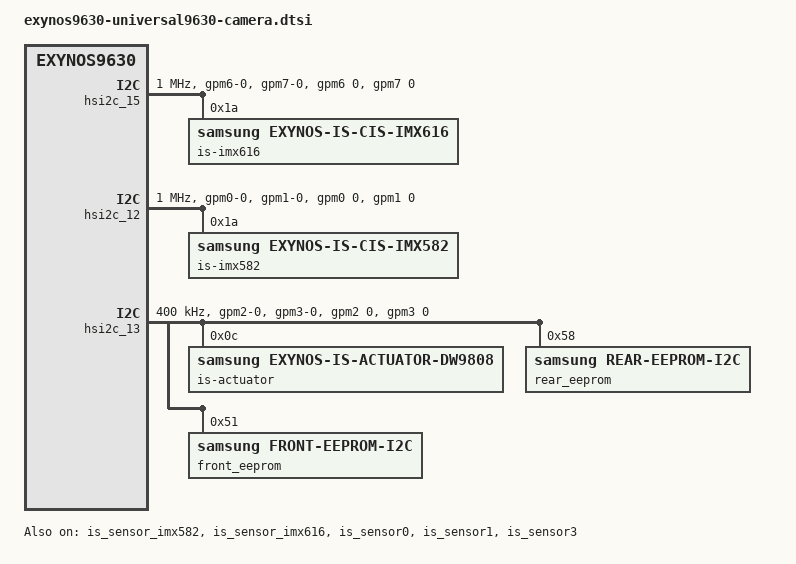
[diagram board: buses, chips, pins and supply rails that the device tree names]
/*
 * Samsung Exynos SoC series Pablo driver
 *
 * Copyright (c) 2019 Samsung Electronics Co., Ltd
 *
 * This program is free software; you can redistribute it and/or modify
 * it under the terms of the GNU General Public License version 2 as
 * published by the Free Software Foundation.
 */

#include <dt-bindings/camera/exynos_is_dt.h>
#include <dt-bindings/interrupt-controller/exynos9630.h>
#include <dt-bindings/clock/exynos9630.h>

#include "camera/module_imx582.dtsi"
#include "camera/module_imx616.dtsi"

/* REAR CAMERA */
&is_sensor_imx582 {
	pinctrl-names = "pin0", "pin1", "pin2", "release";
	pinctrl-0 = <&sensor_mclk1_out>;
	pinctrl-1 = <&sensor_mclk1_fn>;
	pinctrl-2 = <>;
	pinctrl-3 = <>;

	position = <0>; /* Rear:0. Front:1 */
	id = <0>; /* is_sensor id */
	mclk_ch = <1>;

	status = "okay";

	af {
		product_name = <24>; /* ACTUATOR_NAME_DW9808 */
	};

	power_seq {
		use = <1>;
		gpio_mclk = <&gpg0 4 0x1>;

		scenario_normal_on {
			sensor_scenario = <SENSOR_SCENARIO_NORMAL>;
			gpio_scenario = <GPIO_SCENARIO_ON>;

			/* A start node number should be over the 10 for reserved number 0~9. */
			/* pname = "name"; pin = <act value dealy voltage>; gpio = <gpx# # 0x1>; */
			10 { pname = "sen_rst low"; pin = <PIN_OUTPUT 0 500>; gpio = <&gpm13 0 0x1>; };
			20 { pname = "CAM_VLDO5"; pin = <PIN_REGULATOR 1 0>; }; /* IMX582_AVDD1 2.9V */
			30 { pname = "CAM_VLDO2"; pin = <PIN_REGULATOR 1 0>; }; /* IMX582_AVDD2 1.8V */ /* FIXME */
			40 { pname = "CAM_VLDO3"; pin = <PIN_REGULATOR 1 0>; }; /* IMX582_IOVDD 1.8V */
			50 { pname = "CAM_VLDO2"; pin = <PIN_REGULATOR 1 0>; }; /* IMX582_DVDD 1.1V */
			60 { pname = "CAM_VLDO7"; pin = <PIN_REGULATOR 1 500>; }; /* RCAM_AF_VDD 2.8V */
			70 { pname = "on_i2c"; pin = <PIN_I2C 1 10>; };
			80 { pname = "pin"; pin = <PIN_FUNCTION 1 1000>; share; };
			90 { pname = "MCLK"; pin = <PIN_MCLK 1 1500>; };
			100 { pname = "sen_rst high"; pin = <PIN_OUTPUT 1 0>; gpio = <&gpm13 0 0x1>; };
			110 { pname = "delay"; pin = <PIN_NONE 0 10000>; };
		};

		scenario_normal_off {
			sensor_scenario = <SENSOR_SCENARIO_NORMAL>;
			gpio_scenario = <GPIO_SCENARIO_OFF>;

			/* A start node number should be over the 10 for reserved number 0~9. */
			/* pname = "name"; pin = <act value dealy voltage>; gpio = <gpx# # 0x1>; */
			10 { pname = "delay"; pin = <PIN_NONE 0 5000>; };
			20 { pname = "sen_rst low"; pin = <PIN_OUTPUT 0 0>; gpio = <&gpm13 0 0x1>; };
			30 { pname = "MCLK"; pin = <PIN_MCLK 0 0>; };
			40 { pname = "pin"; pin = <PIN_FUNCTION 0 0>; share; };
			50 { pname = "pin"; pin = <PIN_FUNCTION 2 1000>; };
			60 { pname = "off_i2c"; pin = <PIN_I2C 0 0>; };
			70 { pname = "CAM_VLDO7"; pin = <PIN_REGULATOR 0 500>; }; /* RCAM_AF_VDD 2.8V */
			80 { pname = "CAM_VLDO5"; pin = <PIN_REGULATOR 0 0>; }; /* IMX582_AVDD1 2.9V */
			90 { pname = "CAM_VLDO2"; pin = <PIN_REGULATOR 0 0>; }; /* IMX582_AVDD2 1.8V */
			100 { pname = "CAM_VLDO3"; pin = <PIN_REGULATOR 0 0>; }; /* IMX582_IOVDD 1.8V */
			110 { pname = "CAM_VLDO2"; pin = <PIN_REGULATOR 0 0>; }; /* IMX582_DVDD 1.1V */
		};

		scenario_read_rom_on {
			sensor_scenario = <SENSOR_SCENARIO_READ_ROM>;
			gpio_scenario = <GPIO_SCENARIO_ON>;

			/* A start node number should be over the 10 for reserved number 0~9. */
			/* pname = "name"; pin = <act value dealy voltage>; gpio = <gpx# # 0x1>; */
			10 { pname = "CAM_VLDO7"; pin = <PIN_REGULATOR 1 0>; }; /* RCAM_AF_VDD 2.8V */
			20 { pname = "CAM_VLDO3"; pin = <PIN_REGULATOR 1 0>; }; /* IMX582_IOVDD 1.8V */
			30 { pname = "delay"; pin = <PIN_NONE 0 3000>; };
		};

		scenario_read_rom_off {
			sensor_scenario = <SENSOR_SCENARIO_READ_ROM>;
			gpio_scenario = <GPIO_SCENARIO_OFF>;

			/* A start node number should be over the 10 for reserved number 0~9. */
			/* pname = "name"; pin = <act value dealy voltage>; gpio = <gpx# # 0x1>; */
			10 { pname = "CAM_VLDO7"; pin = <PIN_REGULATOR 0 0>; }; /* RCAM_AF_VDD 2.8V */
			20 { pname = "CAM_VLDO3"; pin = <PIN_REGULATOR 0 0>; }; /* IMX582_IOVDD 1.8V */
		};

		scenario_vision_on {
			sensor_scenario = <SENSOR_SCENARIO_VISION>;
			gpio_scenario = <GPIO_SCENARIO_ON>;

			/* A start node number should be over the 10 for reserved number 0~9. */
			/* pname = "name"; pin = <act value dealy voltage>; gpio = <gpx# # 0x1>; */
			10 { pname = "sen_rst low"; pin = <PIN_OUTPUT 0 500>; gpio = <&gpm13 0 0x1>; };
			20 { pname = "CAM_VLDO5"; pin = <PIN_REGULATOR 1 0>; }; /* IMX582_AVDD1 2.9V */
			30 { pname = "CAM_VLDO2"; pin = <PIN_REGULATOR 1 0>; }; /* IMX582_AVDD2 1.8V */
			40 { pname = "CAM_VLDO3"; pin = <PIN_REGULATOR 1 0>; }; /* IMX582_IOVDD 1.8V */
			50 { pname = "CAM_VLDO2"; pin = <PIN_REGULATOR 1 0>; }; /* IMX582_DVDD 1.1V */
			60 { pname = "CAM_VLDO7"; pin = <PIN_REGULATOR 1 500>; }; /* RCAM_AF_VDD 2.8V */
			70 { pname = "on_i2c"; pin = <PIN_I2C 1 10>; };
			80 { pname = "pin"; pin = <PIN_FUNCTION 1 1000>; share; };
			90 { pname = "MCLK"; pin = <PIN_MCLK 1 1500>; };
			100 { pname = "sen_rst high"; pin = <PIN_OUTPUT 1 0>; gpio = <&gpm13 0 0x1>; };
			110 { pname = "delay"; pin = <PIN_NONE 0 10000>; };
		};

		scenario_vision_off {
			sensor_scenario = <SENSOR_SCENARIO_VISION>;
			gpio_scenario = <GPIO_SCENARIO_OFF>;

			/* A start node number should be over the 10 for reserved number 0~9. */
			/* pname = "name"; pin = <act value dealy voltage>; gpio = <gpx# # 0x1>; */
			10 { pname = "delay"; pin = <PIN_NONE 0 5000>; };
			20 { pname = "sen_rst low"; pin = <PIN_OUTPUT 0 0>; gpio = <&gpm13 0 0x1>; };
			30 { pname = "MCLK"; pin = <PIN_MCLK 0 0>; };
			40 { pname = "pin"; pin = <PIN_FUNCTION 0 0>; share; };
			50 { pname = "pin"; pin = <PIN_FUNCTION 2 1000>; };
			60 { pname = "off_i2c"; pin = <PIN_I2C 0 0>; };
			70 { pname = "CAM_VLDO7"; pin = <PIN_REGULATOR 0 500>; }; /* RCAM_AF_VDD 2.8V */
			80 { pname = "CAM_VLDO5"; pin = <PIN_REGULATOR 0 0>; }; /* IMX582_AVDD1 2.9V */
			90 { pname = "CAM_VLDO2"; pin = <PIN_REGULATOR 0 0>; }; /* IMX582_AVDD2 1.8V */
			100 { pname = "CAM_VLDO3"; pin = <PIN_REGULATOR 0 0>; }; /* IMX582_IOVDD 1.8V */
			110 { pname = "CAM_VLDO2"; pin = <PIN_REGULATOR 0 0>; }; /* IMX582_DVDD 1.1V */
		};
	};
};

/* FRONT CAMERA */
&is_sensor_imx616 {
	pinctrl-names = "pin0", "pin1", "pin2", "release";
	pinctrl-0 = <>;
	pinctrl-1 = <&sensor_mclk0_out>;
	pinctrl-2 = <&sensor_mclk0_fn>;
	pinctrl-3 = <>;

	position = <1>; /* Rear:0, Front:1, Rear_sub(Rear2):2, Rear_UW(Rear3): 4 */
	id = <1>; /* is_sensor id */
	mclk_ch = <0>;

	status = "okay";

	power_seq {
		use = <1>;
		gpio_mclk = <&gpg0 3 0x1>;

		scenario_normal_on {
			sensor_scenario = <SENSOR_SCENARIO_NORMAL>;
			gpio_scenario = <GPIO_SCENARIO_ON>;

			/* A start node number should be over the 10 for reserved number 0~9. */
			/* pname = "name"; pin = <act value dealy voltage>; gpio = <gpx# # 0x1>; */
			10 { pname = "sen_rst low"; pin = <PIN_OUTPUT 0 500>; gpio = <&gpm12 0 0x1>; };
			20 { pname = "CAM_VLDO6"; pin = <PIN_REGULATOR 1 0>; }; /* IMX616_AVDD 2.8V */
			30 { pname = "CAM_VLDO3"; pin = <PIN_REGULATOR 1 0>; }; /* IMX616_IOVDD 1.8V */
			40 { pname = "CAM_VLDO1"; pin = <PIN_REGULATOR 1 500>; }; /* IMX616_DVDD 1.05V */
			50 { pname = "on_i2c"; pin = <PIN_I2C 1 10>; };
			60 { pname = "pin"; pin = <PIN_FUNCTION 2 1000>; };
			70 { pname = "MCLK"; pin = <PIN_MCLK 1 1500>; };
			80 { pname = "sen_rst high"; pin = <PIN_OUTPUT 1 0>; gpio = <&gpm12 0 0x1>; };
			90 { pname = "delay"; pin = <PIN_NONE 0 15000>; };
		};

		scenario_normal_off {
			sensor_scenario = <SENSOR_SCENARIO_NORMAL>;
			gpio_scenario = <GPIO_SCENARIO_OFF>;

			/* A start node number should be over the 10 for reserved number 0~9. */
			/* pname = "name"; pin = <act value dealy voltage>; gpio = <gpx# # 0x1>; */
			10 { pname = "delay"; pin = <PIN_NONE 0 5000>; };
			20 { pname = "sen_rst low"; pin = <PIN_OUTPUT 0 0>; gpio = <&gpm12 0 0x1>; };
			30 { pname = "MCLK"; pin = <PIN_MCLK 0 0>; };
			40 { pname = "pin"; pin = <PIN_FUNCTION 0 0>; };
			50 { pname = "pin"; pin = <PIN_FUNCTION 1 500>; };
			60 { pname = "pin"; pin = <PIN_FUNCTION 0 0>; };
			70 { pname = "off_i2c"; pin = <PIN_I2C 0 0>; };
			80 { pname = "CAM_VLDO6"; pin = <PIN_REGULATOR 0 0>; }; /* IMX616_AVDD 2.8V */
			90 { pname = "CAM_VLDO3"; pin = <PIN_REGULATOR 0 0>; }; /* IMX616_IOVDD 1.8V */
			100 { pname = "CAM_VLDO1"; pin = <PIN_REGULATOR 0 0>; }; /* IMX616_DVDD 1.05V */
		};

		scenario_read_rom_on {
			sensor_scenario = <SENSOR_SCENARIO_READ_ROM>;
			gpio_scenario = <GPIO_SCENARIO_ON>;

			/* A start node number should be over the 10 for reserved number 0~9. */
			/* pname = "name"; pin = <act value dealy voltage>; gpio = <gpx# # 0x1>; */
			10 { pname = "CAM_VLDO3"; pin = <PIN_REGULATOR 1 0>; }; /* IMX616_IOVDD 1.8V */
			20 { pname = "SENSOR_SET_DELAY"; pin = <PIN_NONE 0 3000>; };
		};

		scenario_read_rom_off {
			sensor_scenario = <SENSOR_SCENARIO_READ_ROM>;
			gpio_scenario = <GPIO_SCENARIO_OFF>;

			/* A start node number should be over the 10 for reserved number 0~9. */
			/* pname = "name"; pin = <act value dealy voltage>; gpio = <gpx# # 0x1>; */
			10 { pname = "CAM_VLDO3"; pin = <PIN_REGULATOR 0 0>; }; /* IMX616_IOVDD 1.8V */
		};

		scenario_vision_on {
			sensor_scenario = <SENSOR_SCENARIO_VISION>;
			gpio_scenario = <GPIO_SCENARIO_ON>;

			/* A start node number should be over the 10 for reserved number 0~9. */
			/* pname = "name"; pin = <act value dealy voltage>; gpio = <gpx# # 0x1>; */
			10 { pname = "sen_rst low"; pin = <PIN_OUTPUT 0 500>; gpio = <&gpm12 0 0x1>; };
			20 { pname = "CAM_VLDO6"; pin = <PIN_REGULATOR 1 0>; }; /* IMX616_AVDD 2.8V */
			30 { pname = "CAM_VLDO3"; pin = <PIN_REGULATOR 1 0>; }; /* IMX616_IOVDD 1.8V */
			40 { pname = "CAM_VLDO2"; pin = <PIN_REGULATOR 1 500>; }; /* IMX616_DVDD 1.05V */
			50 { pname = "on_i2c"; pin = <PIN_I2C 1 10>; };
			60 { pname = "pin"; pin = <PIN_FUNCTION 2 1000>; };
			70 { pname = "MCLK"; pin = <PIN_MCLK 1 1500>; };
			80 { pname = "sen_rst high"; pin = <PIN_OUTPUT 1 0>; gpio = <&gpm12 0 0x1>; };
			90 { pname = "delay"; pin = <PIN_NONE 0 15000>; };
		};

		scenario_vision_off {
			sensor_scenario = <SENSOR_SCENARIO_VISION>;
			gpio_scenario = <GPIO_SCENARIO_OFF>;

			/* A start node number should be over the 10 for reserved number 0~9. */
			/* pname = "name"; pin = <act value dealy voltage>; gpio = <gpx# # 0x1>; */
			10 { pname = "delay"; pin = <PIN_NONE 0 5000>; };
			20 { pname = "sen_rst low"; pin = <PIN_OUTPUT 0 0>; gpio = <&gpm12 0 0x1>; };
			30 { pname = "MCLK"; pin = <PIN_MCLK 0 0>; };
			40 { pname = "pin"; pin = <PIN_FUNCTION 0 0>; };
			50 { pname = "pin"; pin = <PIN_FUNCTION 1 500>; };
			60 { pname = "pin"; pin = <PIN_FUNCTION 0 0>; };
			70 { pname = "off_i2c"; pin = <PIN_I2C 0 0>; };
			80 { pname = "CAM_VLDO6"; pin = <PIN_REGULATOR 0 0>; }; /* IMX616_AVDD 2.8V */
			90 { pname = "CAM_VLDO3"; pin = <PIN_REGULATOR 0 0>; }; /* IMX616_IOVDD 1.8V */
			100 { pname = "CAM_VLDO2"; pin = <PIN_REGULATOR 0 0>; }; /* IMX616_DVDD 1.05V */
		};
	};
};

/***** reference symbol node *****/

&exynos_is {
	vender {
		rear_sensor_id = <120>; /* IMX582 */
		front_sensor_id = <121>; /* IMX616 */
	};

	lic_offsets {
		/* 3AA = <setA lic offset0, setA lic offset1, set A trigger context */
		/*		setB lic offset0, setB lic offset1, set B trigger context> */
		/* 4672: 4640x4352 */
		/* 5824: 5804x4352 */
		3AA = <6848 13696 1 6848 13696 2>;
	};

	is_dvfs {
		#define DVFS_INT_CAM_L0 533000
		#define DVFS_INT_CAM_L1 532000
		#define DVFS_INT_CAM_L2 444000
		#define DVFS_INT_CAM_L3 400000
		#define DVFS_INT_CAM_L4 333000
		#define DVFS_INT_CAM_L5 222000
		#define DVFS_INT_CAM_L6 167000
		#define DVFS_INT_CAM_L7 107000

		#define DVFS_TNR_L0 533000
		#define DVFS_TNR_L1 444000
		#define DVFS_TNR_L2 400000
		#define DVFS_TNR_L3 333000
		#define DVFS_TNR_L4 222000
		#define DVFS_TNR_L5 167000
		#define DVFS_TNR_L6 107000

		#define DVFS_INT_L0 666000
		#define DVFS_INT_L1 533000
		#define DVFS_INT_L2 400000
		#define DVFS_INT_L3 266000
		#define DVFS_INT_L4 200000
		#define DVFS_INT_L5 133000

		#define DVFS_CAM_L0 533000
		#define DVFS_CAM_L1 444000
		#define DVFS_CAM_L2 400000
		#define DVFS_CAM_L3 333000
		#define DVFS_CAM_L4 267000
		#define DVFS_CAM_L5 222000
		#define DVFS_CAM_L6 100000

		#define DVFS_MIF_L0 2093000
		#define DVFS_MIF_L1 1794000
		#define DVFS_MIF_L2 1539000
		#define DVFS_MIF_L3 1352000
		#define DVFS_MIF_L4 1014000
		#define DVFS_MIF_L5 845000
		#define DVFS_MIF_L6 676000
		#define DVFS_MIF_L7 546000
		#define DVFS_MIF_L8 421000

		table0 {
			desc = "dvfs table v0.0 for 12M/8M/5M";

			default_int_cam = <DVFS_INT_CAM_L2>;
			default_tnr = <DVFS_TNR_L1>;
			default_cam = <DVFS_CAM_L0>;
			default_mif = <DVFS_MIF_L2>;
			default_int = <DVFS_INT_L4>;
			default_hpg = <0>;

			front2_preview_int_cam = <DVFS_INT_CAM_L2>;
			front2_preview_tnr = <DVFS_TNR_L1>;
			front2_preview_cam = <DVFS_CAM_L0>;
			front2_preview_mif = <DVFS_MIF_L2>;
			front2_preview_int = <DVFS_INT_L4>;
			front2_preview_hpg = <0>;

			front2_capture_int_cam = <DVFS_INT_CAM_L2>;
			front2_capture_tnr = <DVFS_TNR_L1>;
			front2_capture_cam = <DVFS_CAM_L0>;
			front2_capture_mif = <DVFS_MIF_L2>;
			front2_capture_int = <DVFS_INT_L4>;
			front2_capture_hpg = <0>;

			front2_video_int_cam = <DVFS_INT_CAM_L2>;
			front2_video_tnr = <DVFS_TNR_L1>;
			front2_video_cam = <DVFS_CAM_L0>;
			front2_video_mif = <DVFS_MIF_L2>;
			front2_video_int = <DVFS_INT_L4>;
			front2_video_hpg = <0>;

			front2_video_capture_int_cam = <DVFS_INT_CAM_L2>;
			front2_video_capture_tnr = <DVFS_TNR_L1>;
			front2_video_capture_cam = <DVFS_CAM_L0>;
			front2_video_capture_mif = <DVFS_MIF_L2>;
			front2_video_capture_int = <DVFS_INT_L4>;
			front2_video_capture_hpg = <0>;

			front_preview_int_cam = <DVFS_INT_CAM_L5>;
			front_preview_tnr = <DVFS_TNR_L4>;
			front_preview_cam = <DVFS_CAM_L4>;
			front_preview_mif = <DVFS_MIF_L4>;
			front_preview_int = <DVFS_INT_L4>;
			front_preview_hpg = <0>;

			front_preview_full_int_cam = <DVFS_INT_CAM_L5>;
			front_preview_full_tnr = <DVFS_TNR_L4>;
			front_preview_full_cam = <DVFS_CAM_L4>;
			front_preview_full_mif = <DVFS_MIF_L4>;
			front_preview_full_int = <DVFS_INT_L4>;
			front_preview_full_hpg = <0>;

			front_capture_int_cam = <DVFS_INT_CAM_L2>;
			front_capture_tnr = <DVFS_TNR_L1>;
			front_capture_cam = <DVFS_CAM_L4>;
			front_capture_mif = <DVFS_MIF_L1>;
			front_capture_int = <DVFS_INT_L4>;
			front_capture_hpg = <0>;

			front_video_int_cam = <DVFS_INT_CAM_L5>;
			front_video_tnr = <DVFS_TNR_L4>;
			front_video_cam = <DVFS_CAM_L4>;
			front_video_mif = <DVFS_MIF_L4>;
			front_video_int = <DVFS_INT_L4>;
			front_video_hpg = <0>;

			front_video_whd_int_cam = <DVFS_INT_CAM_L5>;
			front_video_whd_tnr = <DVFS_TNR_L4>;
			front_video_whd_cam = <DVFS_CAM_L4>;
			front_video_whd_mif = <DVFS_MIF_L4>;
			front_video_whd_int = <DVFS_INT_L4>;
			front_video_whd_hpg = <0>;

			front_video_uhd_int_cam = <DVFS_INT_CAM_L5>;
			front_video_uhd_tnr = <DVFS_TNR_L4>;
			front_video_uhd_cam = <DVFS_CAM_L4>;
			front_video_uhd_mif = <DVFS_MIF_L4>;
			front_video_uhd_int = <DVFS_INT_L4>;
			front_video_uhd_hpg = <0>;

			front_video_capture_int_cam = <DVFS_INT_CAM_L2>;
			front_video_capture_tnr = <DVFS_TNR_L1>;
			front_video_capture_cam = <DVFS_CAM_L4>;
			front_video_capture_mif = <DVFS_MIF_L1>;
			front_video_capture_int = <DVFS_INT_L4>;
			front_video_capture_hpg = <0>;

			front_video_whd_capture_int_cam = <DVFS_INT_CAM_L2>;
			front_video_whd_capture_tnr = <DVFS_TNR_L1>;
			front_video_whd_capture_cam = <DVFS_CAM_L4>;
			front_video_whd_capture_mif = <DVFS_MIF_L1>;
			front_video_whd_capture_int = <DVFS_INT_L4>;
			front_video_whd_capture_hpg = <0>;

			front_video_uhd_capture_int_cam = <DVFS_INT_CAM_L2>;
			front_video_uhd_capture_tnr = <DVFS_TNR_L1>;
			front_video_uhd_capture_cam = <DVFS_CAM_L4>;
			front_video_uhd_capture_mif = <DVFS_MIF_L1>;
			front_video_uhd_capture_int = <DVFS_INT_L4>;
			front_video_uhd_capture_hpg = <0>;

			front_dual_sync_preview_int_cam = <DVFS_INT_CAM_L2>;
			front_dual_sync_preview_tnr = <DVFS_TNR_L1>;
			front_dual_sync_preview_cam = <DVFS_CAM_L0>;
			front_dual_sync_preview_mif = <DVFS_MIF_L2>;
			front_dual_sync_preview_int = <DVFS_INT_L4>;
			front_dual_sync_preview_hpg = <0>;

			front_dual_sync_capture_int_cam = <DVFS_INT_CAM_L2>;
			front_dual_sync_capture_tnr = <DVFS_TNR_L1>;
			front_dual_sync_capture_cam = <DVFS_CAM_L0>;
			front_dual_sync_capture_mif = <DVFS_MIF_L2>;
			front_dual_sync_capture_int = <DVFS_INT_L4>;
			front_dual_sync_capture_hpg = <0>;

			front_dual_sync_video_fhd_int_cam = <DVFS_INT_CAM_L2>;
			front_dual_sync_video_fhd_tnr = <DVFS_TNR_L1>;
			front_dual_sync_video_fhd_cam = <DVFS_CAM_L0>;
			front_dual_sync_video_fhd_mif = <DVFS_MIF_L2>;
			front_dual_sync_video_fhd_int = <DVFS_INT_L4>;
			front_dual_sync_video_fhd_hpg = <0>;

			front_dual_sync_video_fhd_capture_int_cam = <DVFS_INT_CAM_L2>;
			front_dual_sync_video_fhd_capture_tnr = <DVFS_TNR_L1>;
			front_dual_sync_video_fhd_capture_cam = <DVFS_CAM_L0>;
			front_dual_sync_video_fhd_capture_mif = <DVFS_MIF_L2>;
			front_dual_sync_video_fhd_capture_int = <DVFS_INT_L4>;
			front_dual_sync_video_fhd_capture_hpg = <0>;

			front_vt1_int_cam = <DVFS_INT_CAM_L2>;
			front_vt1_tnr = <DVFS_TNR_L1>;
			front_vt1_cam = <DVFS_CAM_L0>;
			front_vt1_mif = <DVFS_MIF_L2>;
			front_vt1_int = <DVFS_INT_L4>;
			front_vt1_hpg = <0>;

			front_vt2_int_cam = <DVFS_INT_CAM_L2>;
			front_vt2_tnr = <DVFS_TNR_L1>;
			front_vt2_cam = <DVFS_CAM_L0>;
			front_vt2_mif = <DVFS_MIF_L2>;
			front_vt2_int = <DVFS_INT_L4>;
			front_vt2_hpg = <0>;

			front_vt4_int_cam = <DVFS_INT_CAM_L2>;
			front_vt4_tnr = <DVFS_TNR_L1>;
			front_vt4_cam = <DVFS_CAM_L0>;
			front_vt4_mif = <DVFS_MIF_L2>;
			front_vt4_int = <DVFS_INT_L4>;
			front_vt4_hpg = <0>;

			front_preview_high_speed_fps_int_cam = <DVFS_INT_CAM_L2>;
			front_preview_high_speed_fps_tnr = <DVFS_TNR_L1>;
			front_preview_high_speed_fps_cam = <DVFS_CAM_L0>;
			front_preview_high_speed_fps_mif = <DVFS_MIF_L2>;
			front_preview_high_speed_fps_int = <DVFS_INT_L4>;
			front_preview_high_speed_fps_hpg = <0>;

			front_video_high_speed_120fps_int_cam = <DVFS_INT_CAM_L2>;
			front_video_high_speed_120fps_tnr = <DVFS_TNR_L1>;
			front_video_high_speed_120fps_cam = <DVFS_CAM_L0>;
			front_video_high_speed_120fps_mif = <DVFS_MIF_L2>;
			front_video_high_speed_120fps_int = <DVFS_INT_L4>;
			front_video_high_speed_120fps_hpg = <0>;

			rear3_preview_fhd_int_cam = <DVFS_INT_CAM_L2>;
			rear3_preview_fhd_tnr = <DVFS_TNR_L1>;
			rear3_preview_fhd_cam = <DVFS_CAM_L0>;
			rear3_preview_fhd_mif = <DVFS_MIF_L2>;
			rear3_preview_fhd_int = <DVFS_INT_L4>;
			rear3_preview_fhd_hpg = <0>;

			rear3_capture_int_cam = <DVFS_INT_CAM_L2>;
			rear3_capture_tnr = <DVFS_TNR_L1>;
			rear3_capture_cam = <DVFS_CAM_L0>;
			rear3_capture_mif = <DVFS_MIF_L2>;
			rear3_capture_int = <DVFS_INT_L4>;
			rear3_capture_hpg = <0>;

			rear3_video_fhd_int_cam = <DVFS_INT_CAM_L2>;
			rear3_video_fhd_tnr = <DVFS_TNR_L1>;
			rear3_video_fhd_cam = <DVFS_CAM_L0>;
			rear3_video_fhd_mif = <DVFS_MIF_L2>;
			rear3_video_fhd_int = <DVFS_INT_L4>;
			rear3_video_fhd_hpg = <0>;

			rear3_video_fhd_capture_int_cam = <DVFS_INT_CAM_L2>;
			rear3_video_fhd_capture_tnr = <DVFS_TNR_L1>;
			rear3_video_fhd_capture_cam = <DVFS_CAM_L0>;
			rear3_video_fhd_capture_mif = <DVFS_MIF_L2>;
			rear3_video_fhd_capture_int = <DVFS_INT_L4>;
			rear3_video_fhd_capture_hpg = <0>;

			rear2_preview_fhd_int_cam = <DVFS_INT_CAM_L2>;
			rear2_preview_fhd_tnr = <DVFS_TNR_L1>;
			rear2_preview_fhd_cam = <DVFS_CAM_L0>;
			rear2_preview_fhd_mif = <DVFS_MIF_L2>;
			rear2_preview_fhd_int = <DVFS_INT_L4>;
			rear2_preview_fhd_hpg = <0>;

			rear2_capture_int_cam = <DVFS_INT_CAM_L2>;
			rear2_capture_tnr = <DVFS_TNR_L1>;
			rear2_capture_cam = <DVFS_CAM_L0>;
			rear2_capture_mif = <DVFS_MIF_L2>;
			rear2_capture_int = <DVFS_INT_L4>;
			rear2_capture_hpg = <0>;

			rear2_video_fhd_int_cam = <DVFS_INT_CAM_L2>;
			rear2_video_fhd_tnr = <DVFS_TNR_L1>;
			rear2_video_fhd_cam = <DVFS_CAM_L0>;
			rear2_video_fhd_mif = <DVFS_MIF_L2>;
			rear2_video_fhd_int = <DVFS_INT_L4>;
			rear2_video_fhd_hpg = <0>;

			rear2_video_fhd_capture_int_cam = <DVFS_INT_CAM_L2>;
			rear2_video_fhd_capture_tnr = <DVFS_TNR_L1>;
			rear2_video_fhd_capture_cam = <DVFS_CAM_L0>;
			rear2_video_fhd_capture_mif = <DVFS_MIF_L2>;
			rear2_video_fhd_capture_int = <DVFS_INT_L4>;
			rear2_video_fhd_capture_hpg = <0>;

			rear_preview_fhd_int_cam = <DVFS_INT_CAM_L5>;
			rear_preview_fhd_tnr = <DVFS_TNR_L4>;
			rear_preview_fhd_cam = <DVFS_CAM_L4>;
			rear_preview_fhd_mif = <DVFS_MIF_L4>;
			rear_preview_fhd_int = <DVFS_INT_L4>;
			rear_preview_fhd_hpg = <0>;

			rear_preview_whd_int_cam = <DVFS_INT_CAM_L5>;
			rear_preview_whd_tnr = <DVFS_TNR_L4>;
			rear_preview_whd_cam = <DVFS_CAM_L4>;
			rear_preview_whd_mif = <DVFS_MIF_L4>;
			rear_preview_whd_int = <DVFS_INT_L4>;
			rear_preview_whd_hpg = <0>;

			rear_preview_uhd_int_cam = <DVFS_INT_CAM_L5>;
			rear_preview_uhd_tnr = <DVFS_TNR_L4>;
			rear_preview_uhd_cam = <DVFS_CAM_L4>;
			rear_preview_uhd_mif = <DVFS_MIF_L4>;
			rear_preview_uhd_int = <DVFS_INT_L4>;
			rear_preview_uhd_hpg = <0>;

			rear_preview_uhd_60fps_int_cam = <DVFS_INT_CAM_L5>;
			rear_preview_uhd_60fps_tnr = <DVFS_TNR_L4>;
			rear_preview_uhd_60fps_cam = <DVFS_CAM_L4>;
			rear_preview_uhd_60fps_mif = <DVFS_MIF_L2>;
			rear_preview_uhd_60fps_int = <DVFS_INT_L4>;
			rear_preview_uhd_60fps_hpg = <0>;

			rear_preview_full_int_cam = <DVFS_INT_CAM_L5>;
			rear_preview_full_tnr = <DVFS_TNR_L4>;
			rear_preview_full_cam = <DVFS_CAM_L4>;
			rear_preview_full_mif = <DVFS_MIF_L4>;
			rear_preview_full_int = <DVFS_INT_L4>;
			rear_preview_full_hpg = <0>;

			rear_capture_int_cam = <DVFS_INT_CAM_L3>;
			rear_capture_tnr = <DVFS_TNR_L2>;
			rear_capture_cam = <DVFS_CAM_L4>;
			rear_capture_mif = <DVFS_MIF_L1>;
			rear_capture_int = <DVFS_INT_L4>;
			rear_capture_hpg = <0>;

			rear_video_fhd_int_cam = <DVFS_INT_CAM_L5>;
			rear_video_fhd_tnr = <DVFS_TNR_L4>;
			rear_video_fhd_cam = <DVFS_CAM_L4>;
			rear_video_fhd_mif = <DVFS_MIF_L4>;
			rear_video_fhd_int = <DVFS_INT_L4>;
			rear_video_fhd_hpg = <0>;

			rear_video_whd_int_cam = <DVFS_INT_CAM_L5>;
			rear_video_whd_tnr = <DVFS_TNR_L4>;
			rear_video_whd_cam = <DVFS_CAM_L4>;
			rear_video_whd_mif = <DVFS_MIF_L4>;
			rear_video_whd_int = <DVFS_INT_L4>;
			rear_video_whd_hpg = <0>;

			rear_video_uhd_int_cam = <DVFS_INT_CAM_L5>;
			rear_video_uhd_tnr = <DVFS_TNR_L4>;
			rear_video_uhd_cam = <DVFS_CAM_L4>;
			rear_video_uhd_mif = <DVFS_MIF_L4>;
			rear_video_uhd_int = <DVFS_INT_L4>;
			rear_video_uhd_hpg = <0>;

			rear_video_uhd_60fps_int_cam = <DVFS_INT_CAM_L5>;
			rear_video_uhd_60fps_tnr = <DVFS_TNR_L4>;
			rear_video_uhd_60fps_cam = <DVFS_CAM_L4>;
			rear_video_uhd_60fps_mif = <DVFS_MIF_L2>;
			rear_video_uhd_60fps_int = <DVFS_INT_L4>;
			rear_video_uhd_60fps_hpg = <0>;

			rear_video_fhd_capture_int_cam = <DVFS_INT_CAM_L2>;
			rear_video_fhd_capture_tnr = <DVFS_TNR_L1>;
			rear_video_fhd_capture_cam = <DVFS_CAM_L4>;
			rear_video_fhd_capture_mif = <DVFS_MIF_L2>;
			rear_video_fhd_capture_int = <DVFS_INT_L4>;
			rear_video_fhd_capture_hpg = <0>;

			rear_video_whd_capture_int_cam = <DVFS_INT_CAM_L2>;
			rear_video_whd_capture_tnr = <DVFS_TNR_L1>;
			rear_video_whd_capture_cam = <DVFS_CAM_L4>;
			rear_video_whd_capture_mif = <DVFS_MIF_L2>;
			rear_video_whd_capture_int = <DVFS_INT_L4>;
			rear_video_whd_capture_hpg = <0>;

			rear_video_uhd_capture_int_cam = <DVFS_INT_CAM_L2>;
			rear_video_uhd_capture_tnr = <DVFS_TNR_L1>;
			rear_video_uhd_capture_cam = <DVFS_CAM_L4>;
			rear_video_uhd_capture_mif = <DVFS_MIF_L2>;
			rear_video_uhd_capture_int = <DVFS_INT_L4>;
			rear_video_uhd_capture_hpg = <0>;

			dual_preview_int_cam = <DVFS_INT_CAM_L2>;
			dual_preview_tnr = <DVFS_TNR_L1>;
			dual_preview_cam = <DVFS_CAM_L0>;
			dual_preview_mif = <DVFS_MIF_L2>;
			dual_preview_int = <DVFS_INT_L4>;
			dual_preview_hpg = <0>;

			dual_capture_int_cam = <DVFS_INT_CAM_L2>;
			dual_capture_tnr = <DVFS_TNR_L1>;
			dual_capture_cam = <DVFS_CAM_L0>;
			dual_capture_mif = <DVFS_MIF_L2>;
			dual_capture_int = <DVFS_INT_L4>;
			dual_capture_hpg = <0>;

			dual_video_fhd_int_cam = <DVFS_INT_CAM_L2>;
			dual_video_fhd_tnr = <DVFS_TNR_L1>;
			dual_video_fhd_cam = <DVFS_CAM_L0>;
			dual_video_fhd_mif = <DVFS_MIF_L2>;
			dual_video_fhd_int = <DVFS_INT_L4>;
			dual_video_fhd_hpg = <0>;

			dual_video_fhd_capture_int_cam = <DVFS_INT_CAM_L2>;
			dual_video_fhd_capture_tnr = <DVFS_TNR_L1>;
			dual_video_fhd_capture_cam = <DVFS_CAM_L0>;
			dual_video_fhd_capture_mif = <DVFS_MIF_L2>;
			dual_video_fhd_capture_int = <DVFS_INT_L4>;
			dual_video_fhd_capture_hpg = <0>;

			dual_video_uhd_int_cam = <DVFS_INT_CAM_L2>;
			dual_video_uhd_tnr = <DVFS_TNR_L1>;
			dual_video_uhd_cam = <DVFS_CAM_L0>;
			dual_video_uhd_mif = <DVFS_MIF_L2>;
			dual_video_uhd_int = <DVFS_INT_L4>;
			dual_video_uhd_hpg = <0>;

			dual_video_uhd_capture_int_cam = <DVFS_INT_CAM_L2>;
			dual_video_uhd_capture_tnr = <DVFS_TNR_L1>;
			dual_video_uhd_capture_cam = <DVFS_CAM_L0>;
			dual_video_uhd_capture_mif = <DVFS_MIF_L2>;
			dual_video_uhd_capture_int = <DVFS_INT_L4>;
			dual_video_uhd_capture_hpg = <0>;

			dual_sync_preview_int_cam = <DVFS_INT_CAM_L2>;
			dual_sync_preview_tnr = <DVFS_TNR_L1>;
			dual_sync_preview_cam = <DVFS_CAM_L0>;
			dual_sync_preview_mif = <DVFS_MIF_L2>;
			dual_sync_preview_int = <DVFS_INT_L4>;
			dual_sync_preview_hpg = <0>;

			dual_sync_capture_int_cam = <DVFS_INT_CAM_L2>;
			dual_sync_capture_tnr = <DVFS_TNR_L1>;
			dual_sync_capture_cam = <DVFS_CAM_L0>;
			dual_sync_capture_mif = <DVFS_MIF_L2>;
			dual_sync_capture_int = <DVFS_INT_L4>;
			dual_sync_capture_hpg = <0>;

			dual_sync_preview_whd_int_cam = <DVFS_INT_CAM_L2>;
			dual_sync_preview_whd_tnr = <DVFS_TNR_L1>;
			dual_sync_preview_whd_cam = <DVFS_CAM_L0>;
			dual_sync_preview_whd_mif = <DVFS_MIF_L2>;
			dual_sync_preview_whd_int = <DVFS_INT_L4>;
			dual_sync_preview_whd_hpg = <0>;

			dual_sync_whd_capture_int_cam = <DVFS_INT_CAM_L2>;
			dual_sync_whd_capture_tnr = <DVFS_TNR_L1>;
			dual_sync_whd_capture_cam = <DVFS_CAM_L0>;
			dual_sync_whd_capture_mif = <DVFS_MIF_L2>;
			dual_sync_whd_capture_int = <DVFS_INT_L4>;
			dual_sync_whd_capture_hpg = <0>;

			dual_sync_video_fhd_int_cam = <DVFS_INT_CAM_L2>;
			dual_sync_video_fhd_tnr = <DVFS_TNR_L1>;
			dual_sync_video_fhd_cam = <DVFS_CAM_L0>;
			dual_sync_video_fhd_mif = <DVFS_MIF_L2>;
			dual_sync_video_fhd_int = <DVFS_INT_L4>;
			dual_sync_video_fhd_hpg = <0>;

			dual_sync_video_fhd_capture_int_cam = <DVFS_INT_CAM_L2>;
			dual_sync_video_fhd_capture_tnr = <DVFS_TNR_L1>;
			dual_sync_video_fhd_capture_cam = <DVFS_CAM_L0>;
			dual_sync_video_fhd_capture_mif = <DVFS_MIF_L2>;
			dual_sync_video_fhd_capture_int = <DVFS_INT_L4>;
			dual_sync_video_fhd_capture_hpg = <0>;

			dual_sync_video_uhd_int_cam = <DVFS_INT_CAM_L2>;
			dual_sync_video_uhd_tnr = <DVFS_TNR_L1>;
			dual_sync_video_uhd_cam = <DVFS_CAM_L0>;
			dual_sync_video_uhd_mif = <DVFS_MIF_L2>;
			dual_sync_video_uhd_int = <DVFS_INT_L4>;
			dual_sync_video_uhd_hpg = <0>;

			dual_sync_video_uhd_capture_int_cam = <DVFS_INT_CAM_L2>;
			dual_sync_video_uhd_capture_tnr = <DVFS_TNR_L1>;
			dual_sync_video_uhd_capture_cam = <DVFS_CAM_L0>;
			dual_sync_video_uhd_capture_mif = <DVFS_MIF_L2>;
			dual_sync_video_uhd_capture_int = <DVFS_INT_L4>;
			dual_sync_video_uhd_capture_hpg = <0>;

			secure_front_int_cam = <DVFS_INT_CAM_L2>;
			secure_front_tnr = <DVFS_TNR_L1>;
			secure_front_cam = <DVFS_CAM_L0>;
			secure_front_mif = <DVFS_MIF_L2>;
			secure_front_int = <DVFS_INT_L4>;
			secure_front_hpg = <0>;

			pip_preview_int_cam = <DVFS_INT_CAM_L2>;
			pip_preview_tnr = <DVFS_TNR_L1>;
			pip_preview_cam = <DVFS_CAM_L0>;
			pip_preview_mif = <DVFS_MIF_L2>;
			pip_preview_int = <DVFS_INT_L4>;
			pip_preview_hpg = <0>;

			pip_capture_int_cam = <DVFS_INT_CAM_L2>;
			pip_capture_tnr = <DVFS_TNR_L1>;
			pip_capture_cam = <DVFS_CAM_L0>;
			pip_capture_mif = <DVFS_MIF_L2>;
			pip_capture_int = <DVFS_INT_L4>;
			pip_capture_hpg = <0>;

			pip_video_int_cam = <DVFS_INT_CAM_L2>;
			pip_video_tnr = <DVFS_TNR_L1>;
			pip_video_cam = <DVFS_CAM_L0>;
			pip_video_mif = <DVFS_MIF_L2>;
			pip_video_int = <DVFS_INT_L4>;
			pip_video_hpg = <0>;

			pip_video_capture_int_cam = <DVFS_INT_CAM_L2>;
			pip_video_capture_tnr = <DVFS_TNR_L1>;
			pip_video_capture_cam = <DVFS_CAM_L0>;
			pip_video_capture_mif = <DVFS_MIF_L2>;
			pip_video_capture_int = <DVFS_INT_L4>;
			pip_video_capture_hpg = <0>;

			preview_high_speed_fps_int_cam = <DVFS_INT_CAM_L2>;
			preview_high_speed_fps_tnr = <DVFS_TNR_L1>;
			preview_high_speed_fps_cam = <DVFS_CAM_L0>;
			preview_high_speed_fps_mif = <DVFS_MIF_L2>;
			preview_high_speed_fps_int = <DVFS_INT_L4>;
			preview_high_speed_fps_hpg = <0>;

			video_high_speed_60fps_int_cam = <DVFS_INT_CAM_L2>;
			video_high_speed_60fps_tnr = <DVFS_TNR_L1>;
			video_high_speed_60fps_cam = <DVFS_CAM_L0>;
			video_high_speed_60fps_mif = <DVFS_MIF_L2>;
			video_high_speed_60fps_int = <DVFS_INT_L4>;
			video_high_speed_60fps_hpg = <0>;

			video_high_speed_120fps_int_cam = <DVFS_INT_CAM_L2>;
			video_high_speed_120fps_tnr = <DVFS_TNR_L1>;
			video_high_speed_120fps_cam = <DVFS_CAM_L0>;
			video_high_speed_120fps_mif = <DVFS_MIF_L2>;
			video_high_speed_120fps_int = <DVFS_INT_L4>;
			video_high_speed_120fps_hpg = <0>;

			video_high_speed_240fps_int_cam = <DVFS_INT_CAM_L2>;
			video_high_speed_240fps_tnr = <DVFS_TNR_L1>;
			video_high_speed_240fps_cam = <DVFS_CAM_L0>;
			video_high_speed_240fps_mif = <DVFS_MIF_L2>;
			video_high_speed_240fps_int = <DVFS_INT_L4>;
			video_high_speed_240fps_hpg = <0>;

			video_high_speed_dualfps_int_cam = <DVFS_INT_CAM_L2>;
			video_high_speed_dualfps_tnr = <DVFS_TNR_L1>;
			video_high_speed_dualfps_cam = <DVFS_CAM_L0>;
			video_high_speed_dualfps_mif = <DVFS_MIF_L2>;
			video_high_speed_dualfps_int = <DVFS_INT_L4>;
			video_high_speed_dualfps_hpg = <0>;

			video_high_speed_60fps_capture_int_cam = <DVFS_INT_CAM_L2>;
			video_high_speed_60fps_capture_tnr = <DVFS_TNR_L1>;
			video_high_speed_60fps_capture_cam = <DVFS_CAM_L0>;
			video_high_speed_60fps_capture_mif = <DVFS_MIF_L2>;
			video_high_speed_60fps_capture_int = <DVFS_INT_L4>;
			video_high_speed_60fps_capture_hpg = <0>;

			ext_front_int_cam = <DVFS_INT_CAM_L2>;
			ext_front_tnr = <DVFS_TNR_L1>;
			ext_front_cam = <DVFS_CAM_L0>;
			ext_front_mif = <DVFS_MIF_L2>;
			ext_front_int = <DVFS_INT_L4>;
			ext_front_hpg = <0>;

			ext_secure_int_cam = <DVFS_INT_CAM_L2>;
			ext_secure_tnr = <DVFS_TNR_L1>;
			ext_secure_cam = <DVFS_CAM_L0>;
			ext_secure_mif = <DVFS_MIF_L2>;
			ext_secure_int = <DVFS_INT_L4>;
			ext_secure_hpg = <0>;

			max_int_cam = <DVFS_INT_CAM_L2>;
			max_tnr = <DVFS_TNR_L1>;
			max_cam = <DVFS_CAM_L0>;
			max_mif = <DVFS_MIF_L2>;
			max_int = <DVFS_INT_L0>;
			max_hpg = <0>;
		};
	};
};

&pinctrl_1 {
	/* N/A */
	hsi2c_14_bus: hsi2c_14-bus {
		samsung,pins = "gpm4-0", "gpm5-0";
		samsung,pin-function = <2>;
		samsung,pin-pud = <0>;
		samsung,pin-drv = <0>;
	};

	hsi2c_14_bus_in: hsi2c_14-bus-in {
		samsung,pins = "gpm4-0", "gpm5-0";
		samsung,pin-function = <0>;
		samsung,pin-pud = <0>;
		samsung,pin-drv = <0>;
	};

	/* REAR CAM1 */
	hsi2c_12_bus: hsi2c_12-bus {
		samsung,pins = "gpm0-0", "gpm1-0";
		samsung,pin-function = <2>;
		samsung,pin-pud = <0>;
		samsung,pin-drv = <0>;
	};

	hsi2c_12_bus_in: hsi2c_12-bus-in {
		samsung,pins = "gpm0-0", "gpm1-0";
		samsung,pin-function = <0>;
		samsung,pin-pud = <0>;
		samsung,pin-drv = <0>;
	};

	/* FRONT EEP, REAR CAM1 EEP, REAR CAM1 ACTUATOR */
	hsi2c_13_bus: hsi2c_13-bus {
		samsung,pins = "gpm2-0", "gpm3-0";
		samsung,pin-function = <3>;
		samsung,pin-pud = <0>;
		samsung,pin-drv = <0>;
	};

	hsi2c_13_bus_in: hsi2c_13-bus-in {
		samsung,pins = "gpm2-0", "gpm3-0";
		samsung,pin-function = <0>;
		samsung,pin-pud = <0>;
		samsung,pin-drv = <0>;
	};

	/* FRONT, REAR CAM2, REAR CAM3 */
	hsi2c_15_bus: hsi2c_15-bus {
		samsung,pins = "gpm6-0", "gpm7-0";
		samsung,pin-function = <3>;
		samsung,pin-pud = <0>;
		samsung,pin-drv = <0>;
	};

	hsi2c_15_bus_in: hsi2c_15-bus-in {
		samsung,pins = "gpm6-0", "gpm7-0";
		samsung,pin-function = <0>;
		samsung,pin-pud = <0>;
		samsung,pin-drv = <0>;
	};
};

/* I2C_CAM0 */ /* SENSOR_CONTROL_I2C0 */
&hsi2c_15 {
	#address-cells = <1>;
	#size-cells = <0>;
	gpios = <&gpm6 0 0 &gpm7 0 0>;	/* SDA- SCL */
	status = "okay";
	clock-frequency = <1000000>;
	samsung,reset-before-trans;
	samsung,fast-plus-mode;		/* 1Mhz */

	pinctrl-names = "default","on_i2c","off_i2c";
	pinctrl-0 = <&hsi2c_15_bus_in>;
	pinctrl-1 = <&hsi2c_15_bus>;
	pinctrl-2 = <&hsi2c_15_bus_in>;

	is-imx616@1A {
		compatible = "samsung,exynos-is-cis-imx616";
		reg = <0x1A>;			/* 1 bit right shift */
		id = <1>;			/* matching is_sensor id */
		sensor_f_number = <200>;	/* f number 2.0 */
		setfile = "setB";		/* setA: non-3dhdr, setB: 3dhdr */
		use_initial_ae;			/* for initial AE of face unlock */
		/* use_3dhdr; */		/* enable 3dhdr with using setB */
	};
};

/* I2C_CAM1 */ /* SENSOR_CONTROL_I2C1 */
&hsi2c_12 {
	#address-cells = <1>;
	#size-cells = <0>;
	gpios = <&gpm0 0 0 &gpm1 0 0>;	/* SDA- SCL */
	status = "okay";
	clock-frequency = <1000000>;
	samsung,reset-before-trans;
	samsung,fast-plus-mode;		/* 1Mhz */

	pinctrl-names = "default","on_i2c","off_i2c";
	pinctrl-0 = <&hsi2c_12_bus_in>;
	pinctrl-1 = <&hsi2c_12_bus>;
	pinctrl-2 = <&hsi2c_12_bus_in>;

	is-imx582@1A {
		compatible = "samsung,exynos-is-cis-imx582";
		reg = <0x1A>;			/* 1 bit right shift */
		id = <0>;			/* matching is_sensor id */
		sensor_f_number = <200>;	/* f number 2.0 */
		setfile = "setB";		/* first Setfile of MCD is 'setB' */
	};
};

/* USI_PERI_USI_0_I2C */
&hsi2c_13 {
	#address-cells = <1>;
	#size-cells = <0>;
	gpios = <&gpm2 0 0 &gpm3 0 0>;	/* SDA - SCL */
	status = "okay";
	clock-frequency = <400000>;
	samsung,reset-before-trans;

	pinctrl-names = "default","on_i2c","off_i2c";
	pinctrl-0 = <&hsi2c_13_bus_in>;
	pinctrl-1 = <&hsi2c_13_bus>;
	pinctrl-2 = <&hsi2c_13_bus_in>;

	is-actuator@18 {
		compatible = "samsung,exynos-is-actuator-dw9808";
		reg = <0x0C>;
		id = <0>;			/* matching sensor id */
		place = <0>;
	};

	rear_eeprom@B0 {
		compatible = "samsung,rear-eeprom-i2c";
		reg = <0x58>;			/* 7bit-addr */

		use_common_rom_position = <2>;
	};

	front_eeprom@A2 {
		compatible = "samsung,front-eeprom-i2c";
		reg = <0x51>;
	};
};

&is_sensor0 {
	#address-cells = <1>;
	#size-cells = <1>;
	scenario = <SENSOR_SCENARIO_NORMAL>;	/* Normal, Vision, OIS etc */
	id = <0>;
	csi_ch = <1>;
	dma_ch = <1 1 1 1 1 1 1 1>;
	vc_ch = <0 1 2 3 0 1 2 3>;
	flite_ch = <FLITE_ID_NOTHING>;
	is_bns = <0>;
	status = "okay";
	reg = <0x0 0x15040000 0x1000>, /* MIPI-CSI1 */
		<0x0 0x150D0000 0x10000>; /* PHY: M0S4S4S4S4S2 */
	interrupts = <0 INTREQ__CSIS1 IRQ_TYPE_LEVEL_HIGH>, /*MIPI-CSI1 */
		<0 INTREQ__CSIS_DMA1 IRQ_TYPE_LEVEL_HIGH>,
		<0 INTREQ__CSIS_DMA1 IRQ_TYPE_LEVEL_HIGH>,
		<0 INTREQ__CSIS_DMA1 IRQ_TYPE_LEVEL_HIGH>,
		<0 INTREQ__CSIS_DMA1 IRQ_TYPE_LEVEL_HIGH>,
		<0 INTREQ__CSIS_DMA1 IRQ_TYPE_LEVEL_HIGH>,
		<0 INTREQ__CSIS_DMA1 IRQ_TYPE_LEVEL_HIGH>,
		<0 INTREQ__CSIS_DMA1 IRQ_TYPE_LEVEL_HIGH>,
		<0 INTREQ__CSIS_DMA1 IRQ_TYPE_LEVEL_HIGH>;
	interrupt-names = "csi",
		"mode0_VC0", "mode0_VC1","mode0_VC2","mode0_VC3",
		"mode1_VC0", "mode1_VC1","mode1_VC2","mode1_VC3";
	phys = <&mipi_phy_csis1_m0s4s4s4s4s2 0>;
	/* without PAF HW */
	sensor0_ch_mode0: sensor0-ch-mode0 {
		reg = <0x150C2000 0x100>, /* DMA1 VC0 */
			<0x150C2400 0x100>, /* DMA1 Common */
			<0x150C2100 0x100>, /* DMA1 VC1 */
			<0x150C2400 0x100>, /* DMA1 Common */
			<0x150C2200 0x100>, /* DMA1 VC2 */
			<0x150C2400 0x100>, /* DMA1 Common */
			<0x150C2300 0x100>, /* DMA1 VC3 */
			<0x150C2400 0x100>; /* DMA1 Common */
		mux_reg = <0x15020418 0x4>; /* DMA1 input mux */
	};

	/* with PAF HW */
	sensor0_ch_mode1: sensor0-ch-mode1 {
		reg = <0x150C2000 0x100>, /* DMA1 VC0 */
			<0x150C2400 0x100>, /* DMA1 Common */
			<0x150C2100 0x100>, /* DMA1 VC1 */
			<0x150C2400 0x100>, /* DMA1 Common */
			<0x150C2200 0x100>, /* DMA1 VC2 */
			<0x150C2400 0x100>, /* DMA1 Common */
			<0x150C2300 0x100>, /* DMA1 VC3 */
			<0x150C2400 0x100>; /* DMA1 Common */
		mux_reg = <0x15020418 0x4>; /* DMA1 input mux */
	};
};

&is_sensor1 {
	#address-cells = <1>;
	#size-cells = <1>;
	scenario = <SENSOR_SCENARIO_NORMAL>;    /* Normal, Vision, OIS etc */
	id = <1>;
	csi_ch = <0>;
	dma_ch = <0 0 0 0>;
	vc_ch = <0 1 2 3>;
	flite_ch = <FLITE_ID_NOTHING>;
	is_bns = <0>;
	status = "okay";
	reg = <0x0 0x15030000 0x1000>, /* MIPI-CSI0 */
		<0x0 0x150D0000 0x10000>; /* PHY: M0S4S4S4S4S2 */
	interrupts = <0 INTREQ__CSIS0 IRQ_TYPE_LEVEL_HIGH>, /* MIPI-CSI0 */
		<0 INTREQ__CSIS_DMA0 IRQ_TYPE_LEVEL_HIGH>,
		<0 INTREQ__CSIS_DMA0 IRQ_TYPE_LEVEL_HIGH>,
		<0 INTREQ__CSIS_DMA0 IRQ_TYPE_LEVEL_HIGH>,
		<0 INTREQ__CSIS_DMA0 IRQ_TYPE_LEVEL_HIGH>;
	interrupt-names = "csi",
		"mode0_VC0", "mode0_VC1","mode0_VC2","mode0_VC3";
	phys = <&mipi_phy_csis0_m0s4s4s4s4s2 0>;
	/* without PAF HW */
	sensor1_ch_mode0: sensor1-ch-mode0 {
		reg = <0x150C1000 0x100>, /* DMA0 VC0 */
			<0x150C1400 0x100>, /* DMA0 Common */
			<0x150C1100 0x100>, /* DMA0 VC1 */
			<0x150C1400 0x100>, /* DMA0 Common */
			<0x150C1200 0x100>, /* DMA0 VC2 */
			<0x150C1400 0x100>, /* DMA0 Common */
			<0x150C1300 0x100>, /* DMA0 VC3 */
			<0x150C1400 0x100>; /* DMA0 Common */
		mux_reg = <0x15020414 0x4>; /* DMA0 input mux */
	};
};

&is_sensor2 {
	#address-cells = <1>;
	#size-cells = <1>;
	scenario = <SENSOR_SCENARIO_NORMAL>;    /* Normal, Vision, OIS etc */
	id = <2>;
	csi_ch = <2>;
	dma_ch = <2 2 2 2>;
	vc_ch = <0 1 2 3>;
	flite_ch = <FLITE_ID_NOTHING>;
	is_bns = <0>;
	status = "disabled";
};

&is_sensor3 {
	#address-cells = <1>;
	#size-cells = <1>;
	scenario = <SENSOR_SCENARIO_NORMAL>;    /* Normal, Vision, OIS etc */
	id = <2>;
	csi_ch = <3>;
	dma_ch = <3 3 3 3>;
	vc_ch = <0 1 2 3>;
	flite_ch = <FLITE_ID_NOTHING>;
	is_bns = <0>;
	status = "okay";

	interrupts = <0 INTREQ__CSIS3 IRQ_TYPE_LEVEL_HIGH>, /* MIPI-CSI2 */
			<0 INTREQ__CSIS_DMA3 IRQ_TYPE_LEVEL_HIGH>,
			<0 INTREQ__CSIS_DMA3 IRQ_TYPE_LEVEL_HIGH>,
			<0 INTREQ__CSIS_DMA3 IRQ_TYPE_LEVEL_HIGH>,
			<0 INTREQ__CSIS_DMA3 IRQ_TYPE_LEVEL_HIGH>;
	interrupt-names = "csi",
		"mode0_VC0", "mode0_VC1","mode0_VC2","mode0_VC3";
	/* without PAF HW */
	sensor3_ch_mode0: sensor3-ch-mode0 {
		reg = <0x150C4000 0x100>, /* DMA3 VC0 */
			<0x150C4400 0x100>, /* DMA3 Common */
			<0x150C4100 0x100>, /* DMA3 VC1 */
			<0x150C4400 0x100>, /* DMA3 Common */
			<0x150C4200 0x100>, /* DMA3 VC2 */
			<0x150C4400 0x100>, /* DMA3 Common */
			<0x150C4300 0x100>, /* DMA3 VC3 */
			<0x150C4400 0x100>; /* DMA3 Common */
		mux_reg = <0x15020420 0x4>; /* DMA3 input mux */
	};
};

&is_sensor4 {
	#address-cells = <1>;
	#size-cells = <1>;
	scenario = <SENSOR_SCENARIO_NORMAL>;    /* Normal, Vision, OIS etc */
	id = <4>;
	csi_ch = <2>;
	dma_ch = <2 2 2 2>;
	vc_ch = <0 1 2 3>;
	flite_ch = <FLITE_ID_NOTHING>;
	is_bns = <0>;
	status = "disabled";
};
